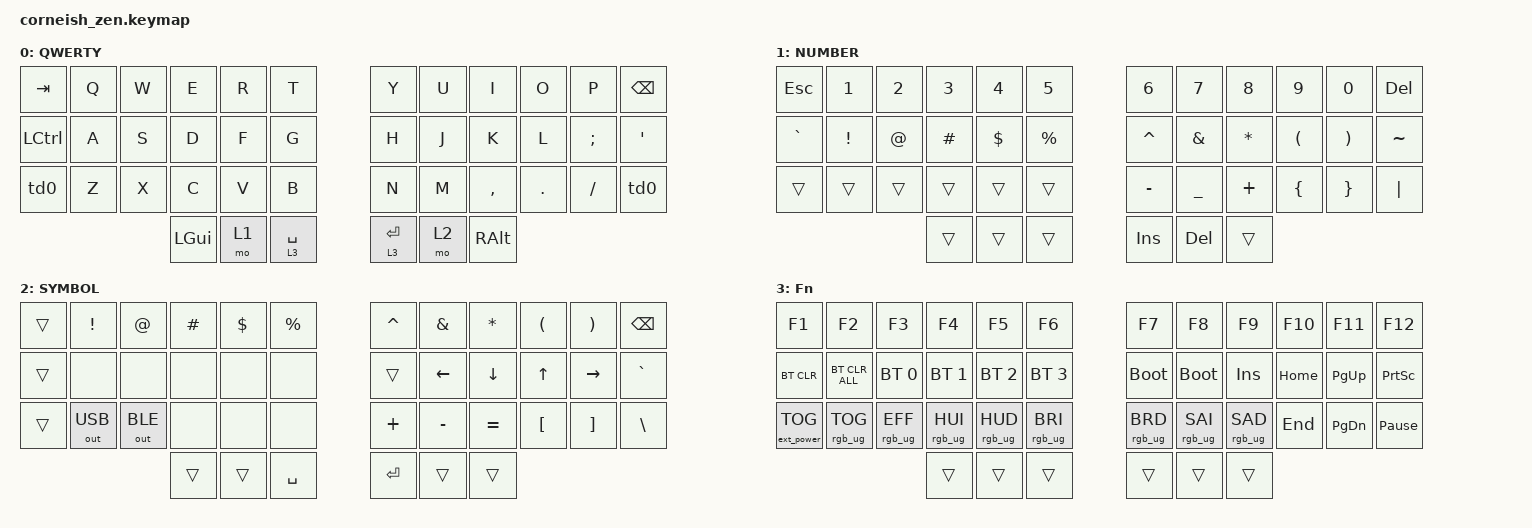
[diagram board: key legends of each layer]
/*
 * Copyright (c) 2020 The ZMK Contributors
 *
 * SPDX-License-Identifier: MIT
 */

#include <behaviors.dtsi>
#include <dt-bindings/zmk/bt.h>
#include <dt-bindings/zmk/keys.h>
#include <dt-bindings/zmk/outputs.h>
#include <dt-bindings/zmk/rgb.h>
#include <dt-bindings/zmk/ext_power.h>
/ {
    chosen {
        zmk,matrix_transform = &default_transform;

        // zmk,matrix_transform = &five_column_transform;
    };
};

&lt {
    tapping-term-ms = <400>;
};

/ {
    behaviors {
        td0: td0 {
            compatible = "zmk,behavior-tap-dance";
            label = "TD0";
            #binding-cells = <0>;
            bindings = <&kp LEFT_SHIFT>, <&kp CAPS>;
        };
    };

    keymap {
        compatible = "zmk,keymap";



        default_layer {
            display-name = "QWERTY";

            // --------------------------------------------------------------------------------
            // |  TAB |  Q  |  W  |  E  |  R  |  T  |   |  Y  |  U   |  I  |  O  |  P  | BKSP |
            // | CTRL |  A  |  S  |  D  |  F  |  G  |   |  H  |  J   |  K  |  L  |  ;  |  '   | 
            // | SHFT |  Z  |  X  |  C  |  V  |  B  |   |  N  |  M   |  ,  |  .  |  /  | SHFT |
            //                    | GUI | LWR | SPC |   | ENT | RSE  | ALT |

            bindings = <
&kp TAB    &kp Q  &kp W  &kp E     &kp R  &kp T          &kp Y        &kp U  &kp I      &kp O    &kp P     &kp BSPC
&kp LCTRL  &kp A  &kp S  &kp D     &kp F  &kp G          &kp H        &kp J  &kp K      &kp L    &kp SEMI  &kp SQT
&td0       &kp Z  &kp X  &kp C     &kp V  &kp B          &kp N        &kp M  &kp COMMA  &kp DOT  &kp FSLH  &td0
                         &kp LGUI  &mo 1  &lt 3 SPACE    &lt 3 ENTER  &mo 2  &kp RALT
            >;
        };

        lower_layer {
            display-name = "NUMBER";

            // -----------------------------------------------------------------------------------------
            // |  ESC |  1  |  2  | 3  |  4  |  5  |   |  6  |  7  |  8  |  9  |  0  | BKSP |
            // | CTRL |  !  |  @  |  #  |  $  |  %  |   |  ^  |  &  |  *  |  (  |  )  |  ~   |
            // | SHFT |     |     |     |     |     |   |  -  |  _  |  +  |  {  |  }  |  |   |
            //                    | GUI |     | SPC |   | ENT |     | ALT |

            bindings = <
&kp ESC    &kp N1           &kp N2          &kp N3        &kp N4        &kp N5             &kp N6           &kp N7           &kp N8           &kp N9     &kp N0     &kp DEL
&kp GRAVE  &kp EXCL         &kp AT          &kp HASH      &kp DLLR      &kp PRCNT          &kp CARET        &kp AMPS         &kp ASTRK        &kp LPAR   &kp RPAR   &kp TILDE
&trans     &trans           &trans          &trans        &trans        &trans             &kp MINUS        &kp UNDER        &kp PLUS         &kp LBRC   &kp RBRC   &kp PIPE
                                            &trans        &trans        &trans             &kp INS          &kp DEL          &trans
            >;
        };

        raise_layer {
            display-name = "SYMBOL";

            // -----------------------------------------------------------------------------------------
            // |  TAB |  !  |  @  |  #  |  $  |  %  |   |  ^  |  &  |  *  |  (  |  )  | BKSP |
            // | CTRL |     |     |     |     |     |   |  -  | LFT | DWN |  UP | RGT |  `   |
            // | SHFT |     |     |     |     |     |   |  +  |  -  |  =  |  [  |  ]  |  /   |
            //                    | GUI |     | SPC |   | ENT |     | ALT |

            bindings = <
&trans  &kp EXCL      &kp AT        &kp HASH  &kp DLLR  &kp PRCNT    &kp CARET     &kp AMPS      &kp ASTRK  &kp LPAR  &kp RPAR  &kp BSPC
&trans  &none         &none         &none     &none     &none        &trans        &kp LEFT      &kp DOWN   &kp UP    &kp RIGHT &kp GRAVE
&trans  &out OUT_USB  &out OUT_BLE  &none     &none     &none        &kp PLUS      &kp MINUS     &kp EQUAL  &kp LBKT  &kp RBKT  &kp BSLH
                                    &trans    &trans    &kp SPACE    &kp RET       &trans        &trans
            >;
        };

        layer_3 {
            display-name = "Fn";
            bindings = <
&kp F1             &kp F2           &kp F3          &kp F4            &kp F5             &kp F6            &kp F7            &kp F8           &kp F9            &kp F10       &kp F11          &kp F12
&bt BT_CLR         &bt BT_CLR_ALL   &bt BT_SEL 0    &bt BT_SEL 1      &bt BT_SEL 2       &bt BT_SEL 3      &bootloader       &bootloader      &kp INS           &kp HOME      &kp PG_UP        &kp PRINTSCREEN
&ext_power EP_TOG  &rgb_ug RGB_TOG  &rgb_ug RGB_EFF &rgb_ug RGB_HUI   &rgb_ug RGB_HUD    &rgb_ug RGB_BRI   &rgb_ug RGB_BRD   &rgb_ug RGB_SAI  &rgb_ug RGB_SAD   &kp END       &kp PG_DN        &kp PAUSE_BREAK
                                                    &trans            &trans             &trans            &trans            &trans           &trans
            >;
        };
    };
};
